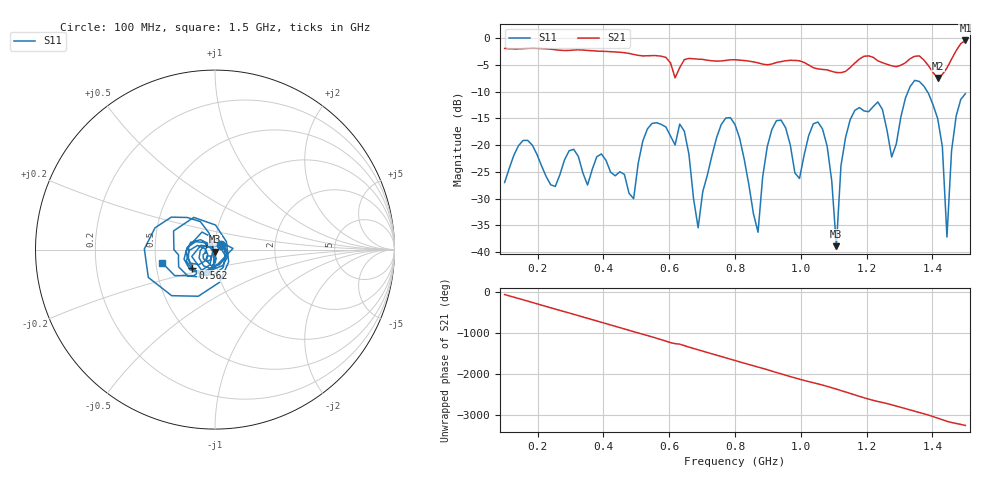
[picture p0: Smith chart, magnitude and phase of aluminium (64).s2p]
! NanoVNA-App
! Date: 2025-09-25 14:55:46
! Start: 100MHz Stop: 1,5GHz Points: 101
! S-Parameter data: F S11 S21 S12 S22
# Hz S RI R 50
!  Frequency  S11_Real  S11_Imag  S21_Real  S21_Imag  S12_Real  S12_Imag  S22_Real  S22_Imag
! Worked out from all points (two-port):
!   101 points, 100 MHz to 1.5 GHz, reference 50 ohm
!   highest |S21| = -0.44 dB at 1.5 GHz (marker M1); lowest = -7.4 dB at 1.416 GHz (marker M2)
!   |S21| within 3 dB of the highest: start of sweep to 579.5 MHz; 1.462 GHz to end of sweep (the widest 2 of 4)
!   lowest |S11| = -38.9 dB at 1.108 GHz (marker M3), VSWR 1.02, Z = 50.1 - j1.13 ohm
!   |S11| at or under -10 dB: start of sweep to 1.326 GHz; 1.384 GHz to end of sweep
!   S12 and S22 are empty: the file has one direction only
!   S11 on the Smith chart (normalised r, x): 100 MHz: 1.07, +0.06; 562 MHz: 0.76, -0.16; 1.5 GHz: 0.54, -0.09
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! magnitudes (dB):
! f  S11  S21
! 100 MHz  -27.0  -1.9
! 338 MHz  -25.2  -2.2
! 492 MHz  -30.0  -3.1
! 562 MHz  -15.8  -3.3
! 576 MHz  -16.1  -3.4
! 646 MHz  -17.4  -4.0
! 688 MHz  -35.5  -3.9
! 800 MHz  -16.1  -4.0
! 870 MHz  -36.3  -4.6
! 912 MHz  -17.1  -4.8
! 996 MHz  -26.2  -4.2
! 1.038 GHz  -16.0  -5.5
! 1.08 GHz  -20.2  -5.9
! 1.108 GHz  -38.9  -6.4
! 1.122 GHz  -23.8  -6.5
! 1.164 GHz  -13.5  -4.7
! 1.276 GHz  -22.2  -5.2
! 1.346 GHz  -7.9  -3.4
! 1.416 GHz  -15.1  -7.4
! 1.444 GHz  -37.2  -5.6
! 1.458 GHz  -21.1  -3.9
! 1.5 GHz  -10.4  -0.4
